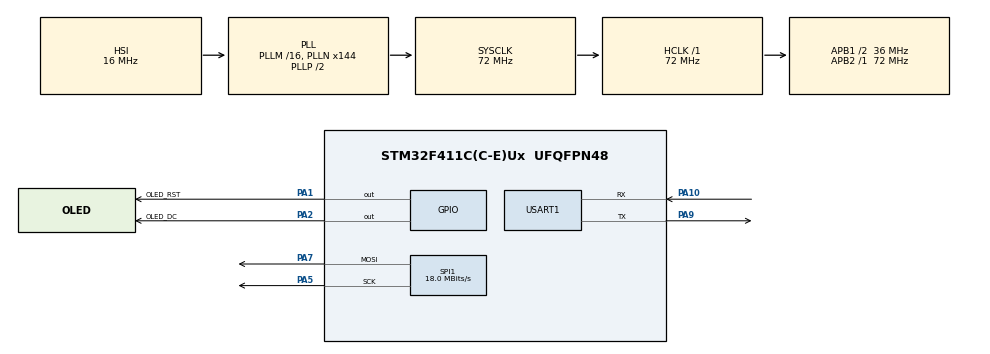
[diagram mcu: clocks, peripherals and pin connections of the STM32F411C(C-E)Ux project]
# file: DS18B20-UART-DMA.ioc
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Dma.Request0=USART1_RX
Dma.Request1=USART1_TX
Dma.Request2=SPI1_TX
Dma.SPI1_TX.2.Direction=DMA_MEMORY_TO_PERIPH
Dma.SPI1_TX.2.FIFOMode=DMA_FIFOMODE_DISABLE
Dma.SPI1_TX.2.Instance=DMA2_Stream3
Dma.SPI1_TX.2.MemDataAlignment=DMA_MDATAALIGN_BYTE
Dma.SPI1_TX.2.MemInc=DMA_MINC_ENABLE
Dma.SPI1_TX.2.Mode=DMA_NORMAL
Dma.SPI1_TX.2.PeriphDataAlignment=DMA_PDATAALIGN_BYTE
Dma.SPI1_TX.2.PeriphInc=DMA_PINC_DISABLE
Dma.SPI1_TX.2.Priority=DMA_PRIORITY_LOW
Dma.USART1_RX.0.Direction=DMA_PERIPH_TO_MEMORY
Dma.USART1_RX.0.FIFOMode=DMA_FIFOMODE_DISABLE
Dma.USART1_RX.0.Instance=DMA2_Stream2
Dma.USART1_RX.0.MemDataAlignment=DMA_MDATAALIGN_BYTE
Dma.USART1_RX.0.MemInc=DMA_MINC_ENABLE
Dma.USART1_RX.0.Mode=DMA_NORMAL
Dma.USART1_RX.0.PeriphDataAlignment=DMA_PDATAALIGN_BYTE
Dma.USART1_RX.0.PeriphInc=DMA_PINC_DISABLE
Dma.USART1_RX.0.Priority=DMA_PRIORITY_LOW
Dma.USART1_TX.1.Direction=DMA_MEMORY_TO_PERIPH
Dma.USART1_TX.1.FIFOMode=DMA_FIFOMODE_DISABLE
Dma.USART1_TX.1.Instance=DMA2_Stream7
Dma.USART1_TX.1.MemDataAlignment=DMA_MDATAALIGN_BYTE
Dma.USART1_TX.1.MemInc=DMA_MINC_ENABLE
Dma.USART1_TX.1.Mode=DMA_NORMAL
Dma.USART1_TX.1.PeriphDataAlignment=DMA_PDATAALIGN_BYTE
Dma.USART1_TX.1.PeriphInc=DMA_PINC_DISABLE
Dma.USART1_TX.1.Priority=DMA_PRIORITY_LOW
Mcu.Family=STM32F4
Mcu.Name=STM32F411C(C-E)Ux
Mcu.Package=UFQFPN48
NVIC.DMA2_Stream2_IRQn=true\:0\:0\:false\:false\:true\:false\:true\:true
NVIC.DMA2_Stream3_IRQn=true\:0\:0\:false\:false\:true\:false\:true\:true
NVIC.DMA2_Stream7_IRQn=true\:0\:0\:false\:false\:true\:false\:true\:true
NVIC.PriorityGroup=NVIC_PRIORITYGROUP_4
NVIC.USART1_IRQn=true\:0\:0\:false\:false\:true\:true\:true\:true
PA1.GPIO_Label=OLED_RST
PA1.PinState=GPIO_PIN_SET
PA1.Signal=GPIO_Output
PA10.Mode=Asynchronous
PA10.Signal=USART1_RX
PA2.GPIO_Label=OLED_DC
PA2.Signal=GPIO_Output
PA5.Mode=TX_Only_Simplex_Unidirect_Master
PA5.Signal=SPI1_SCK
PA7.Mode=TX_Only_Simplex_Unidirect_Master
PA7.Signal=SPI1_MOSI
PA9.Mode=Asynchronous
PA9.Signal=USART1_TX
ProjectManager.HeapSize=0x200
ProjectManager.StackSize=0x400
ProjectManager.TargetToolchain=STM32CubeIDE
RCC.48MHZClocksFreq_Value=36000000
RCC.AHBFreq_Value=72000000
RCC.APB1CLKDivider=RCC_HCLK_DIV2
RCC.APB1Freq_Value=36000000
RCC.APB1TimFreq_Value=72000000
RCC.APB2Freq_Value=72000000
RCC.APB2TimFreq_Value=72000000
RCC.CortexFreq_Value=72000000
RCC.HCLKFreq_Value=72000000
RCC.HSE_VALUE=25000000
RCC.HSI_VALUE=16000000
RCC.LSE_VALUE=32768
RCC.PLLN=144
RCC.SYSCLKFreq_VALUE=72000000
RCC.SYSCLKSource=RCC_SYSCLKSOURCE_PLLCLK
RCC.VCOOutputFreq_Value=144000000
SPI1.BaudRatePrescaler=SPI_BAUDRATEPRESCALER_4
SPI1.CalculateBaudRate=18.0 MBits/s
SPI1.Direction=SPI_DIRECTION_2LINES
SPI1.Mode=SPI_MODE_MASTER
SPI1.VirtualType=VM_MASTER
USART1.VirtualMode=VM_ASYNC
board=custom

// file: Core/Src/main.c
/* USER CODE BEGIN Header */
/**
  ******************************************************************************
  * @file           : main.c
  * @brief          : Main program body
  ******************************************************************************
  * @attention
  *
  * Copyright (c) 2025 STMicroelectronics.
  * All rights reserved.
  *
  * This software is licensed under terms that can be found in the LICENSE file
  * in the root directory of this software component.
  * If no LICENSE file comes with this software, it is provided AS-IS.
  *
  ******************************************************************************
  */
/* USER CODE END Header */
#include "main.h"

/* USER CODE BEGIN Includes */

#include "oled.h"
#include "ds18b20_uart.h"
#include <stdio.h>

/* USER CODE END Includes */

SPI_HandleTypeDef hspi1;
DMA_HandleTypeDef hdma_spi1_tx;

UART_HandleTypeDef huart1;
DMA_HandleTypeDef hdma_usart1_rx;
DMA_HandleTypeDef hdma_usart1_tx;

/* USER CODE BEGIN PV */

// Number of detected DS18B20 devices
uint8_t found_devices = 0;

// DS18B20 sutructures
DS18B20_t ds1 = {.state=DS_IDLE, .last_conv=0};
DS18B20_t ds2 = {.state=DS_IDLE, .last_conv=0};

// Last measurement timestamps
uint32_t ds1_last_measure = 0;
uint32_t ds2_last_measure = 0;

// Cached values to avoid redundant OLED updates
float ds1_last_value = 0;
float ds2_last_value = 0;

/* USER CODE END PV */

void SystemClock_Config(void);
static void MX_GPIO_Init(void);
static void MX_DMA_Init(void);
static void MX_USART1_UART_Init(void);
static void MX_SPI1_Init(void);

int main(void)
{

  /* MCU Configuration--------------------------------------------------------*/

  /* Reset of all peripherals, Initializes the Flash interface and the Systick. */
  HAL_Init();

  /* Configure the system clock */
  SystemClock_Config();

  /* Initialize all configured peripherals */
  MX_GPIO_Init();
  MX_DMA_Init();
  MX_USART1_UART_Init();
  MX_SPI1_Init();
  /* USER CODE BEGIN 2 */

  OLED_Reset();
  OLED_Init(&hspi1);
  DS18B20_Init(&huart1);

  // Clear device counter before ROM search
  found_devices = 0;

  // Find DS18B20 devices on the bus
  DS18B20_SearchRom(&ds1);
  DS18B20_SearchRom(&ds2);

  // Prepare initial OLED screen content
  OLED_Clear();
  OLED_WriteText("Temperature:", 0, 0, 8);
  OLED_WriteText("T1: 00.00 *C", 0, 17, 8);
  OLED_WriteText("T2: 00.00 *C", 0, 33, 8);
  OLED_Update();

  /* USER CODE END 2 */

  /* Infinite loop */
  /* USER CODE BEGIN WHILE */
  while (1)
  {
	  uint32_t now = HAL_GetTick();

      // Run non-blocking DS18B20 state machines
	  DS18B20_Handle(&ds1);
	  DS18B20_Handle(&ds2);

      // Trigger DS1 measurement every 2 seconds
	  if(now - ds1_last_measure > 2000){
		  DS18B20_Measure(&ds1);
		  ds1_last_measure = now;
	  }

      // Trigger DS2 measurement every 2 seconds
	  if(now - ds2_last_measure > 2000){
	      DS18B20_Measure(&ds2);
	      ds2_last_measure = now;
	  }

      // Track whether OLED needs refresh
	  uint8_t refresh = 0;

      // Update OLED line for DS1 only when value changes
	  if(ds1_last_value != ds1.temperature){
		  char buff[16];
		  sprintf(buff, "T1: %0.2f *C", ds1.temperature);
		  OLED_WriteText(buff, 0, 17, 8);
		  ds1_last_value = ds1.temperature;
		  refresh = 1;
	  }

      // Update OLED line for DS2 only when value changes
	  if(ds2_last_value != ds2.temperature){
		  char buff[16];
		  sprintf(buff, "T2: %0.2f *C", ds2.temperature);
		  OLED_WriteText(buff, 0, 33, 8);
		  ds2_last_value = ds2.temperature;
		  refresh = 1;
	  }

      // Push buffer to display when something changed
	  if(refresh){
		  OLED_Update();
	  }
    /* USER CODE END WHILE */

  }
}

void SystemClock_Config(void)
{
  RCC_OscInitTypeDef RCC_OscInitStruct = {0};
  RCC_ClkInitTypeDef RCC_ClkInitStruct = {0};

  /** Configure the main internal regulator output voltage
  */
  __HAL_RCC_PWR_CLK_ENABLE();
  __HAL_PWR_VOLTAGESCALING_CONFIG(PWR_REGULATOR_VOLTAGE_SCALE1);

  /** Initializes the RCC Oscillators according to the specified parameters
  * in the RCC_OscInitTypeDef structure.
  */
  RCC_OscInitStruct.OscillatorType = RCC_OSCILLATORTYPE_HSI;
  RCC_OscInitStruct.HSIState = RCC_HSI_ON;
  RCC_OscInitStruct.HSICalibrationValue = RCC_HSICALIBRATION_DEFAULT;
  RCC_OscInitStruct.PLL.PLLState = RCC_PLL_ON;
  RCC_OscInitStruct.PLL.PLLSource = RCC_PLLSOURCE_HSI;
  RCC_OscInitStruct.PLL.PLLM = 16;
  RCC_OscInitStruct.PLL.PLLN = 144;
  RCC_OscInitStruct.PLL.PLLP = RCC_PLLP_DIV2;
  RCC_OscInitStruct.PLL.PLLQ = 4;
  if (HAL_RCC_OscConfig(&RCC_OscInitStruct) != HAL_OK)
  {
    Error_Handler();
  }

  /** Initializes the CPU, AHB and APB buses clocks
  */
  RCC_ClkInitStruct.ClockType = RCC_CLOCKTYPE_HCLK|RCC_CLOCKTYPE_SYSCLK
                              |RCC_CLOCKTYPE_PCLK1|RCC_CLOCKTYPE_PCLK2;
  RCC_ClkInitStruct.SYSCLKSource = RCC_SYSCLKSOURCE_PLLCLK;
  RCC_ClkInitStruct.AHBCLKDivider = RCC_SYSCLK_DIV1;
  RCC_ClkInitStruct.APB1CLKDivider = RCC_HCLK_DIV2;
  RCC_ClkInitStruct.APB2CLKDivider = RCC_HCLK_DIV1;

  if (HAL_RCC_ClockConfig(&RCC_ClkInitStruct, FLASH_LATENCY_2) != HAL_OK)
  {
    Error_Handler();
  }
}

static void MX_SPI1_Init(void)
{

  /* SPI1 parameter configuration*/
  hspi1.Instance = SPI1;
  hspi1.Init.Mode = SPI_MODE_MASTER;
  hspi1.Init.Direction = SPI_DIRECTION_2LINES;
  hspi1.Init.DataSize = SPI_DATASIZE_8BIT;
  hspi1.Init.CLKPolarity = SPI_POLARITY_LOW;
  hspi1.Init.CLKPhase = SPI_PHASE_1EDGE;
  hspi1.Init.NSS = SPI_NSS_SOFT;
  hspi1.Init.BaudRatePrescaler = SPI_BAUDRATEPRESCALER_4;
  hspi1.Init.FirstBit = SPI_FIRSTBIT_MSB;
  hspi1.Init.TIMode = SPI_TIMODE_DISABLE;
  hspi1.Init.CRCCalculation = SPI_CRCCALCULATION_DISABLE;
  hspi1.Init.CRCPolynomial = 10;
  if (HAL_SPI_Init(&hspi1) != HAL_OK)
  {
    Error_Handler();
  }

}

static void MX_USART1_UART_Init(void)
{

  huart1.Instance = USART1;
  huart1.Init.BaudRate = 115200;
  huart1.Init.WordLength = UART_WORDLENGTH_8B;
  huart1.Init.StopBits = UART_STOPBITS_1;
  huart1.Init.Parity = UART_PARITY_NONE;
  huart1.Init.Mode = UART_MODE_TX_RX;
  huart1.Init.HwFlowCtl = UART_HWCONTROL_NONE;
  huart1.Init.OverSampling = UART_OVERSAMPLING_16;
  if (HAL_UART_Init(&huart1) != HAL_OK)
  {
    Error_Handler();
  }

}

static void MX_DMA_Init(void)
{

  /* DMA controller clock enable */
  __HAL_RCC_DMA2_CLK_ENABLE();

  /* DMA interrupt init */
  /* DMA2_Stream2_IRQn interrupt configuration */
  HAL_NVIC_SetPriority(DMA2_Stream2_IRQn, 0, 0);
  HAL_NVIC_EnableIRQ(DMA2_Stream2_IRQn);
  /* DMA2_Stream3_IRQn interrupt configuration */
  HAL_NVIC_SetPriority(DMA2_Stream3_IRQn, 0, 0);
  HAL_NVIC_EnableIRQ(DMA2_Stream3_IRQn);
  /* DMA2_Stream7_IRQn interrupt configuration */
  HAL_NVIC_SetPriority(DMA2_Stream7_IRQn, 0, 0);
  HAL_NVIC_EnableIRQ(DMA2_Stream7_IRQn);

}

static void MX_GPIO_Init(void)
{
  GPIO_InitTypeDef GPIO_InitStruct = {0};

  /* GPIO Ports Clock Enable */
  __HAL_RCC_GPIOA_CLK_ENABLE();

  /*Configure GPIO pin Output Level */
  HAL_GPIO_WritePin(OLED_RST_GPIO_Port, OLED_RST_Pin, GPIO_PIN_SET);

  /*Configure GPIO pin Output Level */
  HAL_GPIO_WritePin(OLED_DC_GPIO_Port, OLED_DC_Pin, GPIO_PIN_RESET);

  /*Configure GPIO pins : OLED_RST_Pin OLED_DC_Pin */
  GPIO_InitStruct.Pin = OLED_RST_Pin|OLED_DC_Pin;
  GPIO_InitStruct.Mode = GPIO_MODE_OUTPUT_PP;
  GPIO_InitStruct.Pull = GPIO_NOPULL;
  GPIO_InitStruct.Speed = GPIO_SPEED_FREQ_LOW;
  HAL_GPIO_Init(GPIOA, &GPIO_InitStruct);

}

/* USER CODE BEGIN 4 */

// Handle Callbacks

void HAL_UART_RxCpltCallback(UART_HandleTypeDef *huart){
	DS18B20_RX_Callback(huart);

}

void HAL_UART_TxCpltCallback(UART_HandleTypeDef *huart){
	DS18B20_TX_Callback(huart);
}

void HAL_SPI_TxCpltCallback(SPI_HandleTypeDef *hspi) {
	 OLED_SPI_Callback(hspi);
}

/* USER CODE END 4 */

void Error_Handler(void)
{
  __disable_irq();
  while (1)
  {
  }
}
